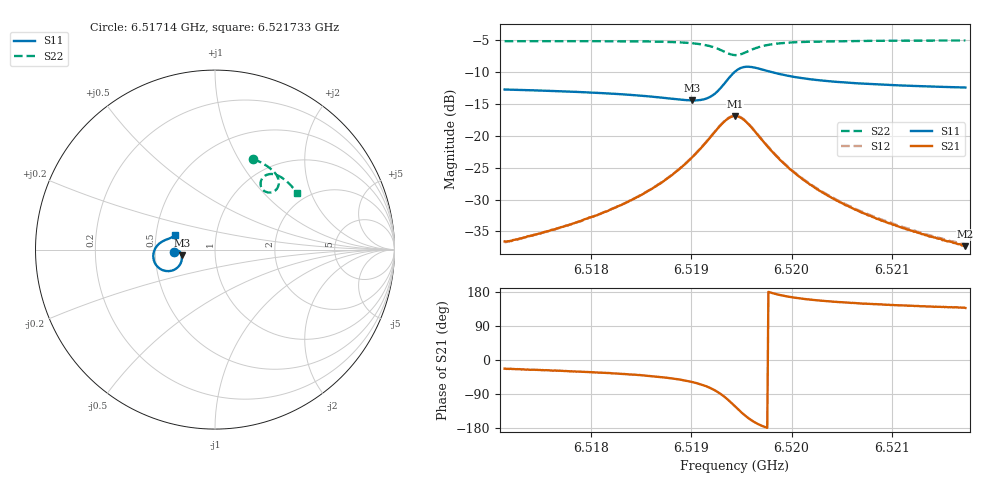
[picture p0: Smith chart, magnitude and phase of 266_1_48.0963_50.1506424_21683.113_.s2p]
#  HZ  S  RI  R  50.00
! Rohde & Schwarz Vector Network Analyzer
! Rohde-Schwarz,ZNB20-2Port,1311601062101988,3.16
! Created: UTC 12/23/2023, 4:01:16 AM
! freq[Hz]  re:S11  im:S11  re:S21  im:S21  re:S12  im:S12  re:S22  im:S22
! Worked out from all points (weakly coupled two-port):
!   401 points, 6.51714 GHz to 6.521733 GHz, reference 50 ohm
!   highest |S21| = -16.93 dB at 6.519436 GHz (marker M1); lowest = -37.3 dB at 6.521733 GHz (marker M2)
!   lowest |S11| = -14.5 dB at 6.519012 GHz (marker M3), VSWR 1.47, Z = 34.3 - j2.32 ohm
!   |S11| at or under -10 dB: start of sweep to 6.519435 GHz; 6.51979 GHz to end of sweep
!   |S22| runs from -7.4 to -5.1 dB; largest |S21 - S12| = 0.0043
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6.5171401e9  -0.2293 -0.0142  0.0137 -0.00578  0.0137 -0.00532  0.2131 0.5054
6.5174845e9  -0.2253 -0.00927  0.0154 -0.00754  0.0156 -0.00707  0.2384 0.4945
6.5179093e9  -0.219 -0.00461  0.0185 -0.0111  0.0189 -0.0104  0.2698 0.4781
6.5183227e9  -0.2104 -0.00305  0.0234 -0.0175  0.024 -0.0169  0.3008 0.4579
6.5186786e9  -0.1993 -0.00836  0.0297 -0.0292  0.0308 -0.0283  0.3285 0.4335
6.5188508e9  -0.1922 -0.0167  0.0335 -0.0403  0.035 -0.0395  0.3418 0.4166
6.5190115e9  -0.1858 -0.0327  0.0358 -0.0578  0.0378 -0.057  0.3526 0.3943
6.5191149e9  -0.1846 -0.0513  0.0336 -0.0757  0.0362 -0.0752  0.3558 0.3738
6.5192067e9  -0.1908 -0.0752  0.0244 -0.0976  0.0275 -0.0977  0.3516 0.351
6.5192641e9  -0.2027 -0.0935  0.0111 -0.1133  0.0144 -0.1137  0.3422 0.3355
6.5193445e9  -0.2368 -0.116  -0.0227 -0.13  -0.0191 -0.1317  0.3156 0.319
6.5194363e9  -0.2965 -0.1123  -0.076 -0.1204  -0.0732 -0.1234  0.2742 0.3271
6.5194823e9  -0.3223 -0.0929  -0.0967 -0.1007  -0.0948 -0.1041  0.2596 0.3438
6.5195397e9  -0.3405 -0.0603  -0.1093 -0.0704  -0.1082 -0.074  0.2537 0.3692
6.5196315e9  -0.3408 -0.0132  -0.1044 -0.0298  -0.1045 -0.033  0.2659 0.4008
6.5197349e9  -0.3244 0.0193  -0.0866 -0.00462  -0.0874 -0.00722  0.2893 0.4171
6.5199645e9  -0.2905 0.0469  -0.0552 0.0124  -0.0561 0.0111  0.3314 0.4192
6.5202056e9  -0.2694 0.0562  -0.0377 0.0146  -0.0385 0.0137  0.3601 0.408
6.52055e9  -0.2525 0.0628  -0.025 0.0135  -0.0257 0.0131  0.3893 0.3884
6.5209748e9  -0.2396 0.0688  -0.017 0.0116  -0.0176 0.0114  0.4172 0.3631
6.5213422e9  -0.2316 0.0738  -0.013 0.0104  -0.0134 0.0101  0.4378 0.3407
6.5217326e9  -0.2246 0.0791  -0.01 0.00924  -0.0107 0.00919  0.4572 0.3165
